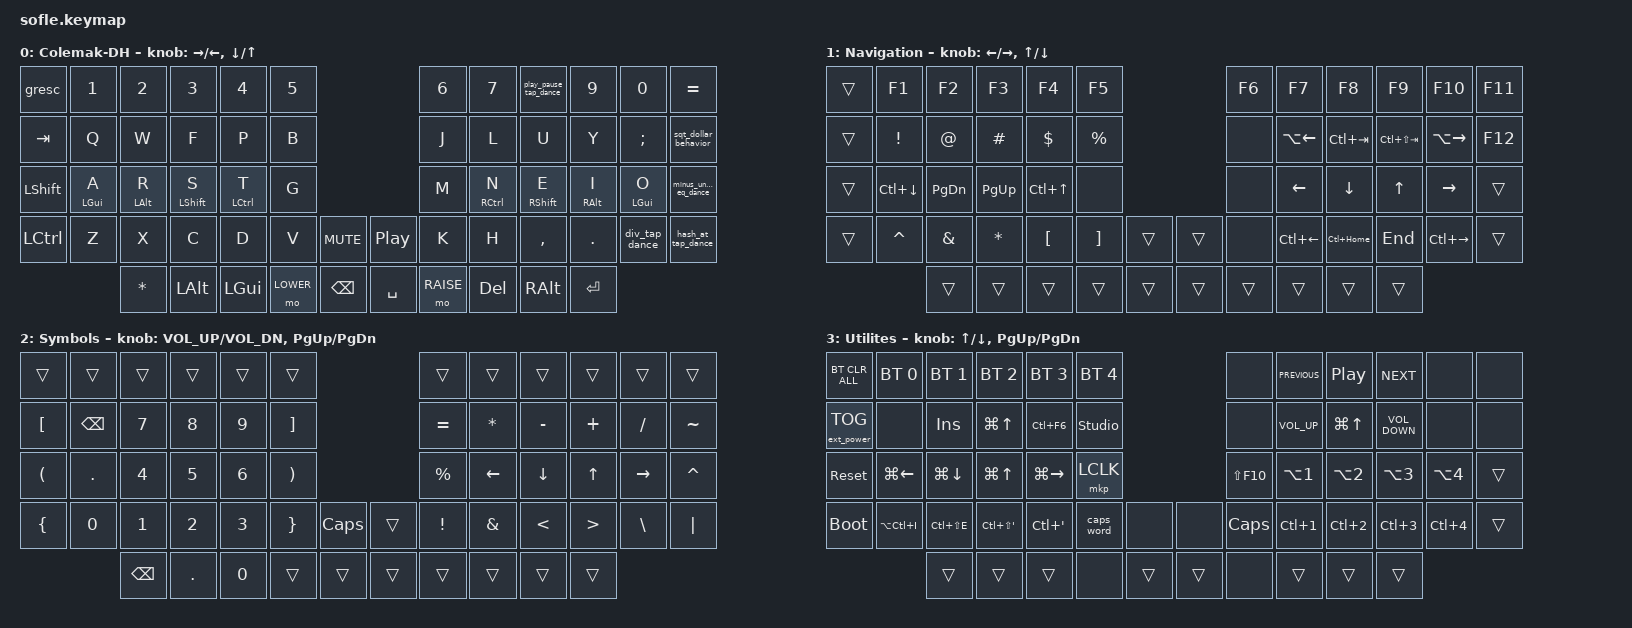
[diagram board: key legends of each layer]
/*
 * Copyright (c) 2020 The ZMK Contributors
 *
 * SPDX-License-Identifier: MIT
 */

#include <behaviors.dtsi>
#include <dt-bindings/zmk/bt.h>
#include <dt-bindings/zmk/ext_power.h>
#include <dt-bindings/zmk/keys.h>
#include <dt-bindings/zmk/pointing.h>

// Encoders

&sensors { triggers-per-rotation = <20>; };

&left_encoder { steps = <5>; };

&right_encoder { steps = <60>; };

#define BASE 0
#define LOWER 1
#define RAISE 2
#define ADJUST 3

/ {
    // Activate ADJUST layer by pressing raise and lower

    conditional_layers {
        compatible = "zmk,conditional-layers";

        adjust_layer {
            if-layers = <LOWER RAISE>;
            then-layer = <ADJUST>;
        };
    };

    combos {
        compatible = "zmk,combos";

        rshift {
            bindings = <&kp TAB>;
            key-positions = <31 32>;
        };

        delete {
            bindings = <&kp DELETE>;
            key-positions = <40 45>;
        };

        rcrtl {
            bindings = <&kp DEL>;
            key-positions = <19 20>;
        };

        lctrl {
            bindings = <&kp DELETE>;
            key-positions = <16 15>;
        };

        lshift {
            bindings = <&kp TAB>;
            key-positions = <28 27>;
        };

        renter {
            bindings = <&kp ENTER>;
            key-positions = <45 46>;
        };

        lenter {
            bindings = <&kp ENTER>;
            key-positions = <40 39>;
        };
    };

    behaviors {
        caps: caps {
            compatible = "zmk,behavior-caps-word";
            label = "CAPS";
            #binding-cells = <0>;
            continue-list = <POUND MINUS BACKSPACE UNDERSCORE>;
        };

        hml: hml {
            compatible = "zmk,behavior-hold-tap";
            label = "HML";
            bindings = <&kp>, <&kp>;

            #binding-cells = <2>;
            tapping-term-ms = <260>;
            quick-tap-ms = <190>;
            require-prior-idle-ms = <200>;
            flavor = "tap-preferred";
            hold-trigger-key-positions = <6 8 7 9 10 11 22 23 34 35 49 48 59 58 57 56 55 43 44 30 18 19 20 21 33 32 31 45 46 47>;
            hold-trigger-on-release;
        };

        hmr: hmr {
            compatible = "zmk,behavior-hold-tap";
            label = "HMR";
            bindings = <&kp>, <&kp>;

            #binding-cells = <2>;
            tapping-term-ms = <260>;
            quick-tap-ms = <190>;
            require-prior-idle-ms = <200>;
            flavor = "tap-preferred";
            hold-trigger-key-positions = <0 1 2 3 4 5 12 13 14 15 16 17 24 25 26 27 28 29 36 37 38 39 40 41 42 50 51 52 53 54>;
            hold-trigger-on-release;
        };

        hml_shift: hml_shift {
            compatible = "zmk,behavior-hold-tap";
            label = "HML_SHIFT";
            bindings = <&kp>, <&kp>;

            #binding-cells = <2>;
            tapping-term-ms = <220>;
            quick-tap-ms = <140>;
            require-prior-idle-ms = <200>;
            flavor = "hold-preferred";
            hold-trigger-key-positions = <6 8 7 9 10 11 22 23 34 35 49 48 59 58 57 56 55 43 44 30 18 19 20 21 33 32 31 45 46 47>;
        };

        hmr_shift: hmr_shift {
            compatible = "zmk,behavior-hold-tap";
            label = "HMR_SHIFT";
            bindings = <&kp>, <&kp>;

            #binding-cells = <2>;
            tapping-term-ms = <220>;
            quick-tap-ms = <140>;
            require-prior-idle-ms = <200>;
            flavor = "hold-preferred";
            hold-trigger-key-positions = <0 1 2 3 4 5 12 13 14 15 16 17 24 25 26 27 28 29 36 37 38 39 40 41 42 50 51 52 53 54>;
        };

        hash_at_tap_dance: hash_at_tap_dance {
            compatible = "zmk,behavior-tap-dance";
            label = "HASH_AT_TAP_DANCE";
            #binding-cells = <0>;
            bindings = <&kp HASH>, <&kp AT>;

            tapping-term-ms = <170>;
        };

        div_tap_dance: div_tap_dance {
            compatible = "zmk,behavior-tap-dance";
            label = "DIV_TAP_DANCE";
            #binding-cells = <0>;
            bindings = <&kp FSLH>, <&kp ASTRK>;

            tapping-term-ms = <170>;
        };

        play_pause_tap_dance: play_pause_tap_dance {
            compatible = "zmk,behavior-tap-dance";
            label = "PLAY_PAUSE_TAP_DANCE";
            #binding-cells = <0>;
            bindings = <&kp N8>, <&kp C_PLAY_PAUSE>;

            tapping-term-ms = <170>;
        };

        minus_underscore_eq_dance: minus_underscore_eq_dance {
            compatible = "zmk,behavior-tap-dance";
            label = "MINUS_UNDERSCORE_EQ_DANCE";
            #binding-cells = <0>;
            bindings = <&kp MINUS>, <&kp EQUAL>;

            tapping-term-ms = <170>;
        };

        sqt_dollar_behavior: sqt_dollar_behavior {
            compatible = "zmk,behavior-tap-dance";
            label = "SQT_DOLLAR_BEHAVIOR";
            #binding-cells = <0>;
            bindings = <&kp SQT>, <&kp DOLLAR>;

            tapping-term-ms = <170>;
        };
    };

    keymap {
        compatible = "zmk,keymap";

        default_layer {
            display-name = "Colemak-DH";
            bindings = <
&gresc          &kp N1       &kp N2           &kp N3                   &kp N4               &kp N5                                        &kp N6     &kp N7                &play_pause_tap_dance     &kp N9            &kp N0          &kp EQUAL
&kp TAB         &kp Q        &kp W            &kp F                    &kp P                &kp B                                         &kp J      &kp L                 &kp U                     &kp Y             &kp SEMICOLON   &sqt_dollar_behavior
&kp LEFT_SHIFT  &hml LGUI A  &hml LEFT_ALT R  &hml_shift LEFT_SHIFT S  &hml LEFT_CONTROL T  &kp G                                         &kp M      &hmr RIGHT_CONTROL N  &hmr_shift RIGHT_SHIFT E  &hmr RIGHT_ALT I  &hmr LGUI O     &minus_underscore_eq_dance
&kp LCTRL       &kp Z        &kp X            &kp C                    &kp D                &kp V      &kp C_MUTE       &kp C_PLAY_PAUSE  &kp K      &kp H                 &kp COMMA                 &kp DOT           &div_tap_dance  &hash_at_tap_dance
                             &kp ASTRK        &kp LALT                 &kp LGUI             &mo LOWER  &kp BACKSPACE    &kp SPACE         &mo RAISE  &kp DELETE            &kp RALT                  &kp ENTER
            >;

            sensor-bindings = <&inc_dec_kp RIGHT LEFT>, <&inc_dec_kp DOWN UP>;
        };

        lower_layer {
            display-name = "Navigation";
            bindings = <
&trans  &kp F1        &kp F2         &kp F3       &kp F4            &kp F5                               &kp F6  &kp F7        &kp F8        &kp F9           &kp F10        &kp F11
&trans  &kp EXCL      &kp AT         &kp HASH     &kp DOLLAR        &kp PERCENT                          &none   &kp LA(LEFT)  &kp LC(TAB)   &kp LC(LS(TAB))  &kp LA(RIGHT)  &kp F12
&trans  &kp LC(DOWN)  &kp PAGE_DOWN  &kp PAGE_UP  &kp LC(UP)        &none                                &none   &kp LEFT      &kp DOWN      &kp UP_ARROW     &kp RIGHT      &trans
&trans  &kp CARET     &kp AMPERSAND  &kp ASTRK    &kp LEFT_BRACKET  &kp RIGHT_BRACKET  &trans    &trans  &none   &kp LC(LEFT)  &kp LC(HOME)  &kp END          &kp LC(RIGHT)  &trans
                      &trans         &trans       &trans            &trans             &trans    &trans  &trans  &trans        &trans        &trans
            >;

            sensor-bindings =
                <&inc_dec_kp LEFT_ARROW RIGHT_ARROW>,
                <&inc_dec_kp UP_ARROW DOWN_ARROW>;
        };

        raise_layer {
            display-name = "Symbols";
            bindings = <
&trans                &trans         &trans         &trans      &trans  &trans                                         &trans       &trans         &trans         &trans            &trans     &trans
&kp LEFT_BRACKET      &kp BACKSPACE  &kp N7         &kp N8      &kp N9  &kp RIGHT_BRACKET                              &kp EQUAL    &kp ASTERISK   &kp MINUS      &kp PLUS          &kp FSLH   &kp TILDE
&kp LEFT_PARENTHESIS  &kp PERIOD     &kp N4         &kp N5      &kp N6  &kp RIGHT_PARENTHESIS                          &kp PERCENT  &kp LEFT       &kp DOWN       &kp UP            &kp RIGHT  &kp CARET
&kp LEFT_BRACE        &kp N0         &kp N1         &kp N2      &kp N3  &kp RIGHT_BRACE        &kp CAPSLOCK    &trans  &kp EXCL     &kp AMPERSAND  &kp LESS_THAN  &kp GREATER_THAN  &kp BSLH   &kp PIPE
                                     &kp BACKSPACE  &kp PERIOD  &kp N0  &trans                 &trans          &trans  &trans       &trans         &trans         &trans
            >;

            sensor-bindings = <&inc_dec_kp C_VOL_UP C_VOL_DN &inc_dec_kp PG_UP PG_DN>;
        };

        adjust_layer {
            display-name = "Utilites";
            bindings = <
&bt BT_CLR_ALL     &bt BT_SEL 0   &bt BT_SEL 1   &bt BT_SEL 2     &bt BT_SEL 3   &bt BT_SEL 4                      &none        &kp C_PREVIOUS   &kp C_PLAY_PAUSE  &kp C_NEXT         &none       &none
&ext_power EP_TOG  &none          &kp INSERT     &kp LG(UP)       &kp LC(F6)     &studio_unlock                    &none        &kp C_VOLUME_UP  &kp LG(UP)        &kp C_VOLUME_DOWN  &none       &none
&sys_reset         &kp LG(LEFT)   &kp LG(DOWN)   &kp LG(UP)       &kp LG(RIGHT)  &mkp LCLK                         &kp LS(F10)  &kp LA(N1)       &kp LA(N2)        &kp LA(N3)         &kp LA(N4)  &trans
&bootloader        &kp LA(LC(I))  &kp LC(LS(E))  &kp LC(LS(SQT))  &kp LC(SQT)    &caps_word      &none     &none   &kp CAPS     &kp LC(N1)       &kp LC(N2)        &kp LC(N3)         &kp LC(N4)  &trans
                                  &trans         &trans           &trans         &none           &trans    &trans  &none        &trans           &trans            &trans
            >;

            sensor-bindings =
                <&inc_dec_kp UP_ARROW DOWN>,
                <&inc_dec_kp PG_UP PAGE_DOWN>;
        };
    };
};
